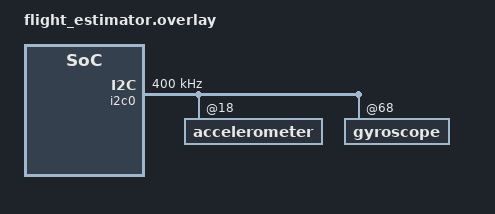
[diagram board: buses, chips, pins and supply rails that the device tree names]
/*
 * Flight controller, Phase 1: state estimation on the bench, no actuation.
 *
 * Only the IMU is exposed. The application selects its subsystems from device-tree aliases --
 * HAVE_FLOW/HAVE_TOF/HAVE_BARO in main.cpp, plus DT_NODE_EXISTS(DT_ALIAS(motors)) around the
 * whole PWM actuator block -- so declaring nothing else here compiles the optical flow, the
 * down-ToF, the barometer, the side-ToF bumper and every motor output OUT of the image. That is
 * a stronger guarantee than a runtime disarm: there is no code path to a motor in this build.
 *
 * Sensors are added one alias at a time as each is verified. See docs/flight-on-fpga.md.
 */

&i2c0 {
	/*
	 * 400 kHz, not the 100 kHz that hardware/zephyr/fpga-drone.overlay sets.
	 *
	 * This is a hard requirement of the control rate, not a tuning preference. Each control
	 * iteration reads the accelerometer and the gyroscope over I2C: roughly 90 bits of bus
	 * traffic each once addressing, register selection, the repeated START and the ACK bits
	 * are counted, so ~180 bits per iteration.
	 *
	 *   100 kHz -> ~1.8 ms per iteration -> ~550 Hz ceiling, BELOW the 1 kHz loop
	 *   400 kHz -> ~0.45 ms per iteration -> ~2.2 kHz ceiling, with margin
	 *
	 * At 100 kHz the loop cannot reach its rate no matter how fast Rocket is, and the failure
	 * looks like a slow controller rather than a slow bus. 400 kHz is what the ESP board runs
	 * (I2C_BITRATE_FAST) and is within spec for every device on this bus -- BMI088 and ADS7128
	 * are rated to 1 MHz, the VL53 parts to 400 kHz.
	 */
	clock-frequency = <400000>;

	/*
	 * Match the rates the flight build actually used. fpga-drone.overlay asks for 200 Hz on
	 * both, which was fine for a sensor-liveness check and is not fine here: a 1 kHz control
	 * loop fed by a 200 Hz gyro is running five iterations on each sample, so the estimator
	 * integrates stale rate data and the derivative terms see quantised steps.
	 *
	 * 800 Hz accel / 1000 Hz gyro (116 Hz bandwidth) are the ESP flight-build values.
	 */
	accelerometer@18 {
		accel-hz = "800";
	};

	gyroscope@68 {
		gyro-hz = "1000_116";
	};
};
